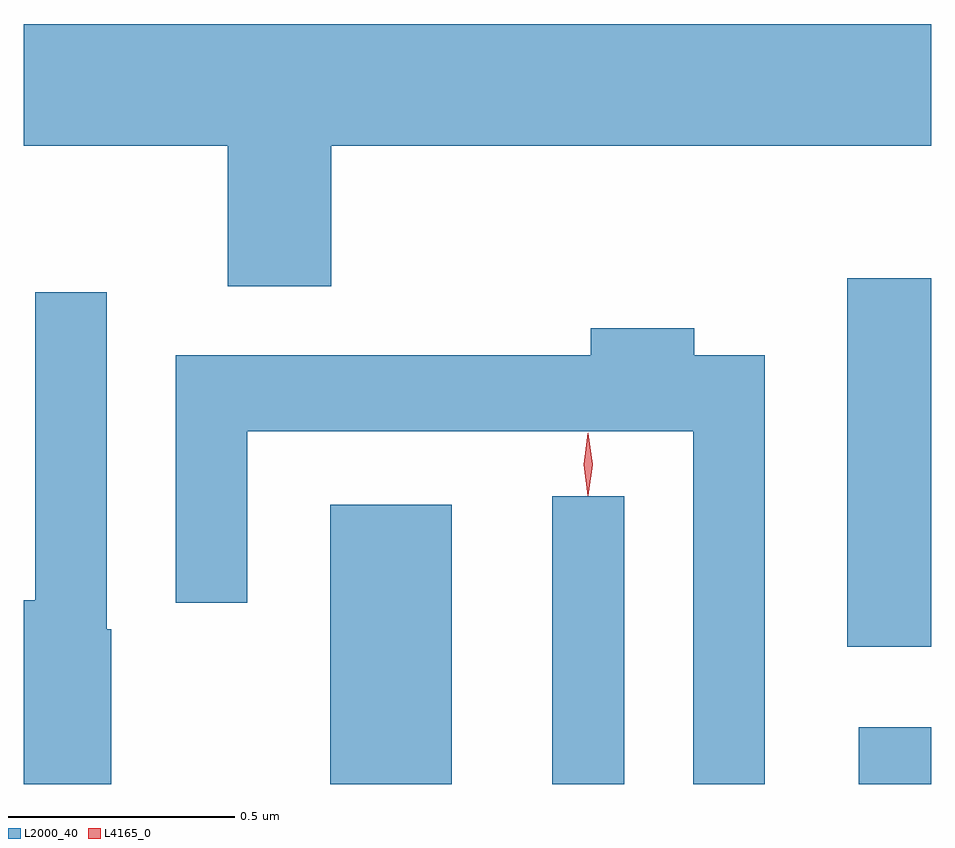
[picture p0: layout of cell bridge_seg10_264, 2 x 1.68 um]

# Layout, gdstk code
import gdstk
lib = gdstk.Library(unit=1e-6, precision=1e-09)
def R(c, l, rs):  # rectangles x0, y0, x1, y1
    for r in rs: c.add(gdstk.rectangle(r[:2], r[2:], *l))
def P(c, l, *ps):  # polygons
    for p in ps: c.add(gdstk.Polygon(p, *l))
L2000_40 = (2000, 40)
L4165_0 = (4165, 0)

bridge_seg10_264 = lib.new_cell('bridge_seg10_264')
R(bridge_seg10_264, L2000_40, [(1802.936,2101.409,1803.204,2102.024), (1803.426,2101.409,1803.584,2102.043), (1804.101,2101.409,1804.261,2101.534), (1804.076,2101.711,1804.261,2102.524)])
P(bridge_seg10_264, L2000_40, [(1802.939,2102.816),(1804.261,2102.816),(1804.261,2103.084),(1802.261,2103.084),(1802.261,2102.816),(1802.711,2102.816),(1802.711,2102.506),(1802.939,2102.506)],
  [(1802.454,2101.75),(1802.444,2101.75),(1802.444,2102.493),(1802.286,2102.493),(1802.286,2101.814),(1802.261,2101.814),(1802.261,2101.409),(1802.454,2101.409)],
  [(1803.894,2102.354),(1803.739,2102.354),(1803.739,2102.414),(1803.511,2102.414),(1803.511,2102.354),(1802.596,2102.354),(1802.596,2101.808),(1802.754,2101.808),(1802.754,2102.186),(1803.736,2102.186),(1803.736,2101.409),(1803.894,2101.409)])
P(bridge_seg10_264, L4165_0, [(1803.504,2102.044),(1803.495,2102.113),(1803.504,2102.182),(1803.505,2102.183),(1803.505,2102.182),(1803.515,2102.113),(1803.505,2102.044),(1803.505,2102.044)],
  [(1803.505,2102.047),(1803.504,2102.048),(1803.495,2102.114),(1803.504,2102.18),(1803.505,2102.181),(1803.505,2102.18),(1803.515,2102.114),(1803.505,2102.048)])

lib.write_gds('bridge_seg10_264.gds')
